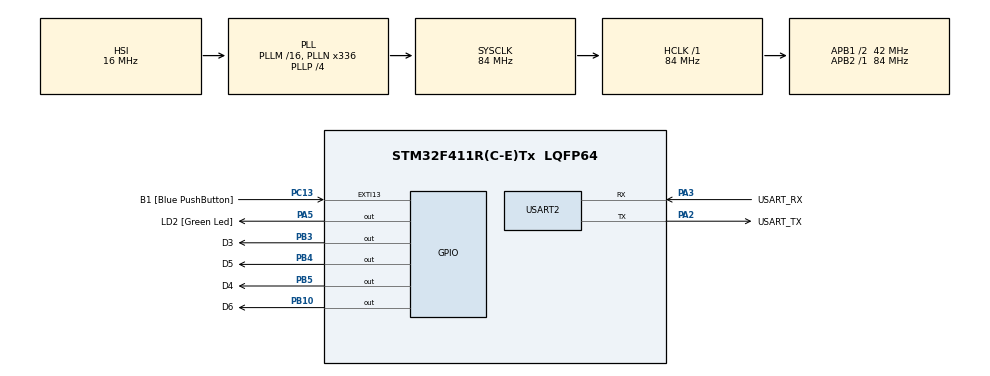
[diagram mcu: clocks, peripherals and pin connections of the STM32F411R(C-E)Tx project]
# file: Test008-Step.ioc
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Mcu.Family=STM32F4
Mcu.Name=STM32F411R(C-E)Tx
Mcu.Package=LQFP64
NVIC.PriorityGroup=NVIC_PRIORITYGROUP_0
PA13.GPIO_Label=TMS
PA13.Mode=Serial_Wire
PA13.Signal=SYS_JTMS-SWDIO
PA14.GPIO_Label=TCK
PA14.Mode=Serial_Wire
PA14.Signal=SYS_JTCK-SWCLK
PA2.GPIO_Label=USART_TX
PA2.Mode=Asynchronous
PA2.Signal=USART2_TX
PA3.GPIO_Label=USART_RX
PA3.Mode=Asynchronous
PA3.Signal=USART2_RX
PA5.GPIO_Label=LD2 [Green Led]
PA5.Signal=GPIO_Output
PB10.GPIO_Label=D6
PB10.Signal=GPIO_Output
PB3.GPIO_Label=D3
PB3.Signal=GPIO_Output
PB4.GPIO_Label=D5
PB4.Signal=GPIO_Output
PB5.GPIO_Label=D4
PB5.Signal=GPIO_Output
PC13-ANTI_TAMP.GPIO_Label=B1 [Blue PushButton]
PC13-ANTI_TAMP.GPIO_ModeDefaultEXTI=GPIO_MODE_IT_FALLING
PC13-ANTI_TAMP.Signal=GPXTI13
PC14-OSC32_IN.Mode=LSE-External-Oscillator
PC14-OSC32_IN.Signal=RCC_OSC32_IN
PC15-OSC32_OUT.Mode=LSE-External-Oscillator
PC15-OSC32_OUT.Signal=RCC_OSC32_OUT
PH0\ -\ OSC_IN.Mode=HSE-External-Clock-Source
PH0\ -\ OSC_IN.Signal=RCC_OSC_IN
PH1\ -\ OSC_OUT.Mode=HSE-External-Clock-Source
PH1\ -\ OSC_OUT.Signal=RCC_OSC_OUT
ProjectManager.HeapSize=0x200
ProjectManager.StackSize=0x400
ProjectManager.TargetToolchain=STM32CubeIDE
RCC.48MHZClocksFreq_Value=84000000
RCC.AHBFreq_Value=84000000
RCC.APB1CLKDivider=RCC_HCLK_DIV2
RCC.APB1Freq_Value=42000000
RCC.APB1TimFreq_Value=84000000
RCC.APB2Freq_Value=84000000
RCC.APB2TimFreq_Value=84000000
RCC.CortexFreq_Value=84000000
RCC.FLatency-AdvancedSettings=FLASH_LATENCY_2
RCC.HCLKFreq_Value=84000000
RCC.HSE_VALUE=8000000
RCC.HSI_VALUE=16000000
RCC.PLLN=336
RCC.PLLP=RCC_PLLP_DIV4
RCC.SYSCLKFreq_VALUE=84000000
RCC.SYSCLKSource=RCC_SYSCLKSOURCE_PLLCLK
RCC.VCOOutputFreq_Value=336000000
USART2.VirtualMode=VM_ASYNC
board=NUCLEO-F411RE

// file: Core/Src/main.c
 /* USER CODE BEGIN Header */
/**
  ******************************************************************************
  * @file           : main.c
  * @brief          : Main program body
  ******************************************************************************
  * @attention
  *
  * Copyright (c) 2025 STMicroelectronics.
  * All rights reserved.
  *
  * This software is licensed under terms that can be found in the LICENSE file
  * in the root directory of this software component.
  * If no LICENSE file comes with this software, it is provided AS-IS.
  *
  ******************************************************************************
  */
/* USER CODE END Header */
#include "main.h"

UART_HandleTypeDef huart2;

void SystemClock_Config(void);
static void MX_GPIO_Init(void);
static void MX_USART2_UART_Init(void);

/* USER CODE BEGIN 0 */
void step_wave(int step)
{
	switch(step)
	{
	case 1: //step 1
	HAL_GPIO_WritePin(D3_GPIO_Port, D3_Pin, 1);
	HAL_GPIO_WritePin(D4_GPIO_Port, D4_Pin, 0);
	HAL_GPIO_WritePin(D5_GPIO_Port, D5_Pin, 0);
	HAL_GPIO_WritePin(D6_GPIO_Port, D6_Pin, 0);
	break;

	case 2: //step 2
	HAL_GPIO_WritePin(D3_GPIO_Port, D3_Pin, 0);
	HAL_GPIO_WritePin(D4_GPIO_Port, D4_Pin, 1);
	HAL_GPIO_WritePin(D5_GPIO_Port, D5_Pin, 0);
	HAL_GPIO_WritePin(D6_GPIO_Port, D6_Pin, 0);
	break;

	case 3: //step 3
	HAL_GPIO_WritePin(D3_GPIO_Port, D3_Pin, 0);
	HAL_GPIO_WritePin(D4_GPIO_Port, D4_Pin, 0);
	HAL_GPIO_WritePin(D5_GPIO_Port, D5_Pin, 1);
	HAL_GPIO_WritePin(D6_GPIO_Port, D6_Pin, 0);
	break;

	case 4: //step 4
	HAL_GPIO_WritePin(D3_GPIO_Port, D3_Pin, 0);
	HAL_GPIO_WritePin(D4_GPIO_Port, D4_Pin, 0);
	HAL_GPIO_WritePin(D5_GPIO_Port, D5_Pin, 0);
	HAL_GPIO_WritePin(D6_GPIO_Port, D6_Pin, 1);
	break;
	}
}

void step_half_wave(int step)
{
	switch(step)
	{
	case 1: //step 1
	HAL_GPIO_WritePin(D3_GPIO_Port, D3_Pin, 1);
	HAL_GPIO_WritePin(D4_GPIO_Port, D4_Pin, 0);
	HAL_GPIO_WritePin(D5_GPIO_Port, D5_Pin, 0);
	HAL_GPIO_WritePin(D6_GPIO_Port, D6_Pin, 0);
	break;

	case 2: //step 2
	HAL_GPIO_WritePin(D3_GPIO_Port, D3_Pin, 1);
	HAL_GPIO_WritePin(D4_GPIO_Port, D4_Pin, 1);
	HAL_GPIO_WritePin(D5_GPIO_Port, D5_Pin, 0);
	HAL_GPIO_WritePin(D6_GPIO_Port, D6_Pin, 0);
	break;

	case 3: //step 3
	HAL_GPIO_WritePin(D3_GPIO_Port, D3_Pin, 0);
	HAL_GPIO_WritePin(D4_GPIO_Port, D4_Pin, 1);
	HAL_GPIO_WritePin(D5_GPIO_Port, D5_Pin, 0);
	HAL_GPIO_WritePin(D6_GPIO_Port, D6_Pin, 0);
	break;

	case 4: //step 4
	HAL_GPIO_WritePin(D3_GPIO_Port, D3_Pin, 0);
	HAL_GPIO_WritePin(D4_GPIO_Port, D4_Pin, 1);
	HAL_GPIO_WritePin(D5_GPIO_Port, D5_Pin, 1);
	HAL_GPIO_WritePin(D6_GPIO_Port, D6_Pin, 0);
	break;

	case 5: //step 5
	HAL_GPIO_WritePin(D3_GPIO_Port, D3_Pin, 0);
	HAL_GPIO_WritePin(D4_GPIO_Port, D4_Pin, 0);
	HAL_GPIO_WritePin(D5_GPIO_Port, D5_Pin, 1);
	HAL_GPIO_WritePin(D6_GPIO_Port, D6_Pin, 0);
	break;

	case 6: //step 6
	HAL_GPIO_WritePin(D3_GPIO_Port, D3_Pin, 0);
	HAL_GPIO_WritePin(D4_GPIO_Port, D4_Pin, 0);
	HAL_GPIO_WritePin(D5_GPIO_Port, D5_Pin, 1);
	HAL_GPIO_WritePin(D6_GPIO_Port, D6_Pin, 1);
	break;

	case 7: //step 7
	HAL_GPIO_WritePin(D3_GPIO_Port, D3_Pin, 0);
	HAL_GPIO_WritePin(D4_GPIO_Port, D4_Pin, 0);
	HAL_GPIO_WritePin(D5_GPIO_Port, D5_Pin, 0);
	HAL_GPIO_WritePin(D6_GPIO_Port, D6_Pin, 1);
	break;

	case 8: //step 8
	HAL_GPIO_WritePin(D3_GPIO_Port, D3_Pin, 1);
	HAL_GPIO_WritePin(D4_GPIO_Port, D4_Pin, 0);
	HAL_GPIO_WritePin(D5_GPIO_Port, D5_Pin, 0);
	HAL_GPIO_WritePin(D6_GPIO_Port, D6_Pin, 1);
	break;
	}
}

void step_full_wave(int step)
{
	switch(step)
	{
	case 1: //step 1
	HAL_GPIO_WritePin(D3_GPIO_Port, D3_Pin, 1);
	HAL_GPIO_WritePin(D4_GPIO_Port, D4_Pin, 1);
	HAL_GPIO_WritePin(D5_GPIO_Port, D5_Pin, 0);
	HAL_GPIO_WritePin(D6_GPIO_Port, D6_Pin, 0);
	break;

	case 2: //step 2
	HAL_GPIO_WritePin(D3_GPIO_Port, D3_Pin, 0);
	HAL_GPIO_WritePin(D4_GPIO_Port, D4_Pin, 1);
	HAL_GPIO_WritePin(D5_GPIO_Port, D5_Pin, 1);
	HAL_GPIO_WritePin(D6_GPIO_Port, D6_Pin, 0);
	break;

	case 3: //step 3
	HAL_GPIO_WritePin(D3_GPIO_Port, D3_Pin, 0);
	HAL_GPIO_WritePin(D4_GPIO_Port, D4_Pin, 0);
	HAL_GPIO_WritePin(D5_GPIO_Port, D5_Pin, 1);
	HAL_GPIO_WritePin(D6_GPIO_Port, D6_Pin, 1);
	break;

	case 4: //step 4
	HAL_GPIO_WritePin(D3_GPIO_Port, D3_Pin, 1);
	HAL_GPIO_WritePin(D4_GPIO_Port, D4_Pin, 0);
	HAL_GPIO_WritePin(D5_GPIO_Port, D5_Pin, 0);
	HAL_GPIO_WritePin(D6_GPIO_Port, D6_Pin, 1);
	break;
	}
}
/* USER CODE END 0 */

int main(void)
{

  /* MCU Configuration--------------------------------------------------------*/

  /* Reset of all peripherals, Initializes the Flash interface and the Systick. */
  HAL_Init();

  /* Configure the system clock */
  SystemClock_Config();

  /* Initialize all configured peripherals */
  MX_GPIO_Init();
  MX_USART2_UART_Init();
  /* USER CODE BEGIN 2 */
  ProgramStart("Step motor control");
  /* USER CODE END 2 */

  /* Infinite loop */
  /* USER CODE BEGIN WHILE */
  while (1)
  {
	  for (int i = 0; i < 4096; i++)
	  {
		  step_half_wave((i % 8) + 1);
		  HAL_Delay(1);
	  }
    /* USER CODE END WHILE */

  }
}

void SystemClock_Config(void)
{
  RCC_OscInitTypeDef RCC_OscInitStruct = {0};
  RCC_ClkInitTypeDef RCC_ClkInitStruct = {0};

  /** Configure the main internal regulator output voltage
  */
  __HAL_RCC_PWR_CLK_ENABLE();
  __HAL_PWR_VOLTAGESCALING_CONFIG(PWR_REGULATOR_VOLTAGE_SCALE1);

  /** Initializes the RCC Oscillators according to the specified parameters
  * in the RCC_OscInitTypeDef structure.
  */
  RCC_OscInitStruct.OscillatorType = RCC_OSCILLATORTYPE_HSI;
  RCC_OscInitStruct.HSIState = RCC_HSI_ON;
  RCC_OscInitStruct.HSICalibrationValue = RCC_HSICALIBRATION_DEFAULT;
  RCC_OscInitStruct.PLL.PLLState = RCC_PLL_ON;
  RCC_OscInitStruct.PLL.PLLSource = RCC_PLLSOURCE_HSI;
  RCC_OscInitStruct.PLL.PLLM = 16;
  RCC_OscInitStruct.PLL.PLLN = 336;
  RCC_OscInitStruct.PLL.PLLP = RCC_PLLP_DIV4;
  RCC_OscInitStruct.PLL.PLLQ = 4;
  if (HAL_RCC_OscConfig(&RCC_OscInitStruct) != HAL_OK)
  {
    Error_Handler();
  }

  /** Initializes the CPU, AHB and APB buses clocks
  */
  RCC_ClkInitStruct.ClockType = RCC_CLOCKTYPE_HCLK|RCC_CLOCKTYPE_SYSCLK
                              |RCC_CLOCKTYPE_PCLK1|RCC_CLOCKTYPE_PCLK2;
  RCC_ClkInitStruct.SYSCLKSource = RCC_SYSCLKSOURCE_PLLCLK;
  RCC_ClkInitStruct.AHBCLKDivider = RCC_SYSCLK_DIV1;
  RCC_ClkInitStruct.APB1CLKDivider = RCC_HCLK_DIV2;
  RCC_ClkInitStruct.APB2CLKDivider = RCC_HCLK_DIV1;

  if (HAL_RCC_ClockConfig(&RCC_ClkInitStruct, FLASH_LATENCY_2) != HAL_OK)
  {
    Error_Handler();
  }
}

static void MX_USART2_UART_Init(void)
{

  huart2.Instance = USART2;
  huart2.Init.BaudRate = 115200;
  huart2.Init.WordLength = UART_WORDLENGTH_8B;
  huart2.Init.StopBits = UART_STOPBITS_1;
  huart2.Init.Parity = UART_PARITY_NONE;
  huart2.Init.Mode = UART_MODE_TX_RX;
  huart2.Init.HwFlowCtl = UART_HWCONTROL_NONE;
  huart2.Init.OverSampling = UART_OVERSAMPLING_16;
  if (HAL_UART_Init(&huart2) != HAL_OK)
  {
    Error_Handler();
  }

}

static void MX_GPIO_Init(void)
{
  GPIO_InitTypeDef GPIO_InitStruct = {0};

  /* GPIO Ports Clock Enable */
  __HAL_RCC_GPIOC_CLK_ENABLE();
  __HAL_RCC_GPIOH_CLK_ENABLE();
  __HAL_RCC_GPIOA_CLK_ENABLE();
  __HAL_RCC_GPIOB_CLK_ENABLE();

  /*Configure GPIO pin Output Level */
  HAL_GPIO_WritePin(LD2_GPIO_Port, LD2_Pin, GPIO_PIN_RESET);

  /*Configure GPIO pin Output Level */
  HAL_GPIO_WritePin(GPIOB, D6_Pin|D3_Pin|D5_Pin|D4_Pin, GPIO_PIN_RESET);

  /*Configure GPIO pin : B1_Pin */
  GPIO_InitStruct.Pin = B1_Pin;
  GPIO_InitStruct.Mode = GPIO_MODE_IT_FALLING;
  GPIO_InitStruct.Pull = GPIO_NOPULL;
  HAL_GPIO_Init(B1_GPIO_Port, &GPIO_InitStruct);

  /*Configure GPIO pin : LD2_Pin */
  GPIO_InitStruct.Pin = LD2_Pin;
  GPIO_InitStruct.Mode = GPIO_MODE_OUTPUT_PP;
  GPIO_InitStruct.Pull = GPIO_NOPULL;
  GPIO_InitStruct.Speed = GPIO_SPEED_FREQ_LOW;
  HAL_GPIO_Init(LD2_GPIO_Port, &GPIO_InitStruct);

  /*Configure GPIO pins : D6_Pin D3_Pin D5_Pin D4_Pin */
  GPIO_InitStruct.Pin = D6_Pin|D3_Pin|D5_Pin|D4_Pin;
  GPIO_InitStruct.Mode = GPIO_MODE_OUTPUT_PP;
  GPIO_InitStruct.Pull = GPIO_NOPULL;
  GPIO_InitStruct.Speed = GPIO_SPEED_FREQ_LOW;
  HAL_GPIO_Init(GPIOB, &GPIO_InitStruct);

}

void Error_Handler(void)
{
  __disable_irq();
  while (1)
  {
  }
}
